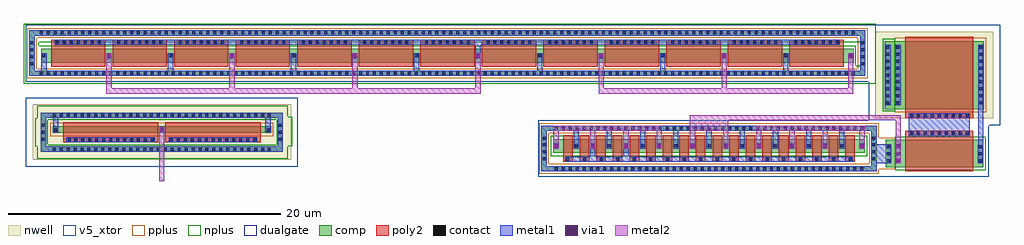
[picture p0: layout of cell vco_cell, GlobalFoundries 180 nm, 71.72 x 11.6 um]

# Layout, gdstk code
from math import pi, radians
import gdstk
lib = gdstk.Library(unit=1e-6, precision=5e-09)
def R(c, l, rs):  # rectangles x0, y0, x1, y1
    for r in rs: c.add(gdstk.rectangle(r[:2], r[2:], *l))
def A(c, l, x, y, w, h, nx, ny, dx, dy):  # array of equal rectangles
    R(c, l, [(x+i*dx, y+j*dy, x+i*dx+w, y+j*dy+h) for i in range(nx) for j in range(ny)])
def P(c, l, *ps):  # polygons
    for p in ps: c.add(gdstk.Polygon(p, *l))
nwell = (21, 0)
comp = (22, 0)
poly2 = (30, 0)
pplus = (31, 0)
nplus = (32, 0)
contact = (33, 0)
metal1 = (34, 0)
via1 = (35, 0)
metal2 = (36, 0)
dualgate = (55, 0)
v5_xtor = (112, 1)

nfet_1 = lib.new_cell('nfet$1')

pfet = lib.new_cell('pfet')

pfet_1 = lib.new_cell('pfet$1')

pfet_3 = lib.new_cell('pfet$3')

vco_inv_forlvs = lib.new_cell('vco_inv_forlvs')
vco_inv_forlvs.add(gdstk.Reference(nfet_1, (9.895,-4.855), rotation=pi, x_reflection=True))
vco_inv_forlvs.add(gdstk.Reference(pfet, (7.49,0.665), rotation=pi))
vco_inv_forlvs.add(gdstk.Reference(pfet, (7.265,0.74), rotation=pi))
vco_inv_forlvs.add(gdstk.Reference(pfet_1, (8.54,2.73), rotation=pi))
vco_inv_forlvs.add(gdstk.Reference(pfet_1, (6.875,1.175), rotation=pi))
vco_inv_forlvs.add(gdstk.Reference(pfet_3, (9.875,4.415), rotation=pi))

nfet_1_1 = lib.new_cell('nfet$1$1')

pfet_3_1 = lib.new_cell('pfet$3$1')

pfet_2 = lib.new_cell('pfet$2')

pfet_1_1 = lib.new_cell('pfet$1$1')

vco_inv_forlvs_1 = lib.new_cell('vco_inv_forlvs$1')
vco_inv_forlvs_1.add(gdstk.Reference(nfet_1_1, (9.895,-4.855), rotation=pi, x_reflection=True))
vco_inv_forlvs_1.add(gdstk.Reference(pfet_3_1, (9.875,4.415), rotation=pi))
vco_inv_forlvs_1.add(gdstk.Reference(pfet_2, (7.49,0.665), rotation=pi))
vco_inv_forlvs_1.add(gdstk.Reference(pfet_2, (7.265,0.74), rotation=pi))
vco_inv_forlvs_1.add(gdstk.Reference(pfet_1_1, (8.54,2.73), rotation=pi))
vco_inv_forlvs_1.add(gdstk.Reference(pfet_1_1, (6.875,1.175), rotation=pi))

nfet_1_2 = lib.new_cell('nfet$1$2')

pfet_3_2 = lib.new_cell('pfet$3$2')

pfet_4 = lib.new_cell('pfet$4')

pfet_1_2 = lib.new_cell('pfet$1$2')

vco_inv_forlvs_2 = lib.new_cell('vco_inv_forlvs$2')
vco_inv_forlvs_2.add(gdstk.Reference(nfet_1_2, (9.895,-4.855), rotation=pi, x_reflection=True))
vco_inv_forlvs_2.add(gdstk.Reference(pfet_3_2, (9.875,4.415), rotation=pi))
vco_inv_forlvs_2.add(gdstk.Reference(pfet_4, (7.49,0.665), rotation=pi))
vco_inv_forlvs_2.add(gdstk.Reference(pfet_4, (7.265,0.74), rotation=pi))
vco_inv_forlvs_2.add(gdstk.Reference(pfet_1_2, (8.54,2.73), rotation=pi))
vco_inv_forlvs_2.add(gdstk.Reference(pfet_1_2, (6.875,1.175), rotation=pi))

nfet_1_3 = lib.new_cell('nfet$1$3')

pfet_3_3 = lib.new_cell('pfet$3$3')

pfet_5 = lib.new_cell('pfet$5')

pfet_1_3 = lib.new_cell('pfet$1$3')

vco_inv_forlvs_3 = lib.new_cell('vco_inv_forlvs$3')
vco_inv_forlvs_3.add(gdstk.Reference(nfet_1_3, (9.895,-4.855), rotation=pi, x_reflection=True))
vco_inv_forlvs_3.add(gdstk.Reference(pfet_3_3, (9.875,4.415), rotation=pi))
vco_inv_forlvs_3.add(gdstk.Reference(pfet_5, (7.49,0.665), rotation=pi))
vco_inv_forlvs_3.add(gdstk.Reference(pfet_5, (7.265,0.74), rotation=pi))
vco_inv_forlvs_3.add(gdstk.Reference(pfet_1_3, (8.54,2.73), rotation=pi))
vco_inv_forlvs_3.add(gdstk.Reference(pfet_1_3, (6.875,1.175), rotation=pi))

nfet = lib.new_cell('nfet')

vco_nmosmirr_forlvs = lib.new_cell('vco_nmosmirr_forlvs')
vco_nmosmirr_forlvs.add(gdstk.Reference(nfet, (-0.415,-0.11)))
vco_nmosmirr_forlvs.add(gdstk.Label('VDD1', (2.995,3.085), layer=42, texttype=10))
vco_nmosmirr_forlvs.add(gdstk.Label('VDD2', (10.41,3.06), layer=42, texttype=10))
vco_nmosmirr_forlvs.add(gdstk.Label('VDD3', (17.99,3.18), layer=42, texttype=10))

nfet_1_4 = lib.new_cell('nfet$1$4')

pfet_3_4 = lib.new_cell('pfet$3$4')

pfet_6 = lib.new_cell('pfet$6')

pfet_1_4 = lib.new_cell('pfet$1$4')

vco_inv_forlvs_4 = lib.new_cell('vco_inv_forlvs$4')
vco_inv_forlvs_4.add(gdstk.Reference(nfet_1_4, (9.895,-4.855), rotation=pi, x_reflection=True))
vco_inv_forlvs_4.add(gdstk.Reference(pfet_3_4, (9.875,4.415), rotation=pi))
vco_inv_forlvs_4.add(gdstk.Reference(pfet_6, (7.49,0.665), rotation=pi))
vco_inv_forlvs_4.add(gdstk.Reference(pfet_6, (7.265,0.74), rotation=pi))
vco_inv_forlvs_4.add(gdstk.Reference(pfet_1_4, (8.54,2.73), rotation=pi))
vco_inv_forlvs_4.add(gdstk.Reference(pfet_1_4, (6.875,1.175), rotation=pi))

nfet_2 = lib.new_cell('nfet$2')

vco_nmosmirr_forlvs_1 = lib.new_cell('vco_nmosmirr_forlvs$1')
vco_nmosmirr_forlvs_1.add(gdstk.Reference(nfet_2, (-0.415,-0.11)))
vco_nmosmirr_forlvs_1.add(gdstk.Label('VDD1', (2.995,3.085), layer=42, texttype=10))
vco_nmosmirr_forlvs_1.add(gdstk.Label('VDD2', (10.41,3.06), layer=42, texttype=10))
vco_nmosmirr_forlvs_1.add(gdstk.Label('VDD3', (17.99,3.18), layer=42, texttype=10))

nfet_3 = lib.new_cell('nfet$3')

vco_nmosmirr_forlvs_2 = lib.new_cell('vco_nmosmirr_forlvs$2')
vco_nmosmirr_forlvs_2.add(gdstk.Reference(nfet_3, (-0.415,-0.11)))
vco_nmosmirr_forlvs_2.add(gdstk.Label('VDD1', (2.995,3.085), layer=42, texttype=10))
vco_nmosmirr_forlvs_2.add(gdstk.Label('VDD2', (10.41,3.06), layer=42, texttype=10))
vco_nmosmirr_forlvs_2.add(gdstk.Label('VDD3', (17.99,3.18), layer=42, texttype=10))

pfet_7 = lib.new_cell('pfet$7')

pfet_3_5 = lib.new_cell('pfet$3$5')

vco_vcont_forlvs = lib.new_cell('vco_vcont_forlvs')
vco_vcont_forlvs.add(gdstk.Reference(pfet_7, (-0.435,0.23)))
vco_vcont_forlvs.add(gdstk.Reference(pfet_3_5, (-0.74,0.02)))

nfet_1_5 = lib.new_cell('nfet$1$5')

pfet_3_6 = lib.new_cell('pfet$3$6')

pfet_8 = lib.new_cell('pfet$8')

pfet_1_5 = lib.new_cell('pfet$1$5')

vco_inv_forlvs_5 = lib.new_cell('vco_inv_forlvs$5')
vco_inv_forlvs_5.add(gdstk.Reference(nfet_1_5, (9.895,-4.855), rotation=pi, x_reflection=True))
vco_inv_forlvs_5.add(gdstk.Reference(pfet_3_6, (9.875,4.415), rotation=pi))
vco_inv_forlvs_5.add(gdstk.Reference(pfet_8, (7.49,0.665), rotation=pi))
vco_inv_forlvs_5.add(gdstk.Reference(pfet_8, (7.265,0.74), rotation=pi))
vco_inv_forlvs_5.add(gdstk.Reference(pfet_1_5, (8.54,2.73), rotation=pi))
vco_inv_forlvs_5.add(gdstk.Reference(pfet_1_5, (6.875,1.175), rotation=pi))
vco_inv_forlvs_5.add(gdstk.Label('VIN', (4.745,2.45), layer=34, texttype=10))
vco_inv_forlvs_5.add(gdstk.Label('VOUT', (4.915,5.48), layer=34, texttype=10))
vco_inv_forlvs_5.add(gdstk.Label('VSS', (6.98,-0.97), layer=34, texttype=10))
vco_inv_forlvs_5.add(gdstk.Label('VDD', (1.23,-0.965), layer=34, texttype=10))
vco_inv_forlvs_5.add(gdstk.Label('VIN', (4.745,18.25), layer=34, texttype=10))
vco_inv_forlvs_5.add(gdstk.Label('VIN', (4.745,34.05), layer=34, texttype=10))
vco_inv_forlvs_5.add(gdstk.Label('VIN', (4.745,49.85), layer=34, texttype=10))
vco_inv_forlvs_5.add(gdstk.Label('VIN', (4.745,65.65), layer=34, texttype=10))
vco_inv_forlvs_5.add(gdstk.Label('VOUT', (4.915,21.28), layer=34, texttype=10))
vco_inv_forlvs_5.add(gdstk.Label('VOUT', (4.915,37.08), layer=34, texttype=10))
vco_inv_forlvs_5.add(gdstk.Label('VOUT', (4.915,52.88), layer=34, texttype=10))
vco_inv_forlvs_5.add(gdstk.Label('VOUT', (4.915,68.68), layer=34, texttype=10))
vco_inv_forlvs_5.add(gdstk.Label('VSS', (6.98,14.83), layer=34, texttype=10))
vco_inv_forlvs_5.add(gdstk.Label('VSS', (6.98,30.63), layer=34, texttype=10))
vco_inv_forlvs_5.add(gdstk.Label('VSS', (6.98,46.43), layer=34, texttype=10))
vco_inv_forlvs_5.add(gdstk.Label('VSS', (6.98,62.23), layer=34, texttype=10))
vco_inv_forlvs_5.add(gdstk.Label('VDD', (1.23,14.835), layer=34, texttype=10))
vco_inv_forlvs_5.add(gdstk.Label('VDD', (1.23,30.635), layer=34, texttype=10))
vco_inv_forlvs_5.add(gdstk.Label('VDD', (1.23,46.435), layer=34, texttype=10))
vco_inv_forlvs_5.add(gdstk.Label('VDD', (1.23,62.235), layer=34, texttype=10))

nfet_4 = lib.new_cell('nfet$4')

vco_nmosmirr_forlvs_3 = lib.new_cell('vco_nmosmirr_forlvs$3')
vco_nmosmirr_forlvs_3.add(gdstk.Reference(nfet_4, (-0.415,-0.11)))
vco_nmosmirr_forlvs_3.add(gdstk.Label('VSS', (-29.64,29.665), layer=34, texttype=10))
vco_nmosmirr_forlvs_3.add(gdstk.Label('VSS', (-29.64,45.465), layer=34, texttype=10))
vco_nmosmirr_forlvs_3.add(gdstk.Label('VSS', (-29.64,61.265), layer=34, texttype=10))
vco_nmosmirr_forlvs_3.add(gdstk.Label('VSS', (-29.64,77.065), layer=34, texttype=10))
vco_nmosmirr_forlvs_3.add(gdstk.Label('VSS', (-29.64,92.865), layer=34, texttype=10))
vco_nmosmirr_forlvs_3.add(gdstk.Label('VDD1', (2.995,3.085), layer=42, texttype=10))
vco_nmosmirr_forlvs_3.add(gdstk.Label('VDD2', (10.41,3.06), layer=42, texttype=10))
vco_nmosmirr_forlvs_3.add(gdstk.Label('VDD3', (17.99,3.18), layer=42, texttype=10))

pfet_2_1 = lib.new_cell('pfet$2$1')

pfet_9 = lib.new_cell('pfet$9')

vco_pmosmirr_forlvs = lib.new_cell('vco_pmosmirr_forlvs')
vco_pmosmirr_forlvs.add(gdstk.Reference(pfet_2_1, (55.425,-0.395), rotation=pi, x_reflection=True))
vco_pmosmirr_forlvs.add(gdstk.Reference(pfet_9, (52.52,0.065), rotation=pi, x_reflection=True))
vco_pmosmirr_forlvs.add(gdstk.Reference(pfet_9, (55.445,0.13), rotation=pi, x_reflection=True))
vco_pmosmirr_forlvs.add(gdstk.Reference(pfet_9, (54.975,-2.405), rotation=pi, x_reflection=True))

pfet_10 = lib.new_cell('pfet$10')

pfet_3_7 = lib.new_cell('pfet$3$7')

vco_vcont_forlvs_1 = lib.new_cell('vco_vcont_forlvs$1')
vco_vcont_forlvs_1.add(gdstk.Reference(pfet_10, (-0.435,0.23)))
vco_vcont_forlvs_1.add(gdstk.Reference(pfet_3_7, (-0.74,0.02)))

nfet_2_1 = lib.new_cell('nfet$2$1')
R(nfet_2_1, comp, [(-10.7,-22.785,-10.28,-21.785), (-10.28,-22.785,11.78,-21.785), (11.78,-22.785,12.2,-21.785)])
P(nfet_2_1, comp, [(-11.56,-24.145),(-11.56,-21.175),(-11.18,-21.175),(-11.18,-23.765),(12.68,-23.765),(12.68,-21.175),(-11.56,-21.175),(-11.56,-20.795),(13.06,-20.795),(13.06,-24.145)])
A(nfet_2_1, poly2, -9.97, -23.445, 0.7, 0.36, 18, 1, 1.22, 0)
A(nfet_2_1, poly2, -9.97, -23.085, 0.7, 1.6, 18, 1, 1.22, 0)
P(nfet_2_1, pplus, [(-11.73,-24.315),(-11.73,-21.345),(-11.01,-21.345),(-11.01,-23.595),(12.51,-23.595),(12.51,-21.345),(-11.73,-21.345),(-11.73,-20.625),(13.23,-20.625),(13.23,-24.315)])
R(nfet_2_1, nplus, [(-10.87,-23.025,12.37,-21.545)])
A(nfet_2_1, contact, -10.58, -24.065, 0.22, 0.22, 45, 2, 0.51, 2.97)
A(nfet_2_1, contact, -9.73, -23.375, 0.22, 0.22, 18, 1, 1.22, 0)
A(nfet_2_1, contact, -11.48, -23.345, 0.22, 0.22, 1, 4, 0, 0.51)
A(nfet_2_1, contact, 12.76, -23.345, 0.22, 0.22, 1, 4, 0, 0.51)
A(nfet_2_1, contact, -9.12, -22.395, 0.22, 0.22, 17, 1, 1.22, 0)
R(nfet_2_1, contact, [(-10.6,-22.395,-10.38,-22.175), (11.88,-22.395,12.1,-22.175)])
A(nfet_2_1, metal1, -9.81, -23.455, 0.38, 0.38, 18, 1, 1.22, 0)
A(nfet_2_1, metal1, -9.2, -22.475, 0.38, 0.38, 17, 1, 1.22, 0)
R(nfet_2_1, metal1, [(-10.68,-22.475,-10.3,-22.095), (11.8,-22.475,12.18,-22.095)])
R(nfet_2_1, dualgate, [(-11.81,-24.555,13.31,-20.385), (-11.81,-24.395,13.31,-20.545)])
R(nfet_2_1, v5_xtor, [(-11.81,-24.555,13.31,-20.385), (-11.81,-24.395,13.31,-20.545)])

vco_nmosmirr_forlvs_1_1 = lib.new_cell('vco_nmosmirr_forlvs$1$1')
A(vco_nmosmirr_forlvs_1_1, metal1, -9.615, -22.585, 0.38, 1.3, 9, 1, 2.44, 0)
R(vco_nmosmirr_forlvs_1_1, metal1, [(-11.975,-24.255,12.645,-23.875), (-11.975,-23.875,-11.595,-21.285), (12.265,-23.875,12.645,-21.285), (-10.225,-23.565,10.895,-23.185), (-8.395,-23.565,-8.015,-22.265), (-5.955,-23.565,-5.575,-22.265), (-11.975,-21.285,12.645,-20.905)])
A(vco_nmosmirr_forlvs_1_1, via1, -8.335, -22.525, 0.26, 0.26, 8, 1, 2.44, 0)
R(vco_nmosmirr_forlvs_1_1, via1, [(-11.035,-22.525,-10.775,-22.265), (11.445,-22.525,11.705,-22.265)])
A(vco_nmosmirr_forlvs_1_1, metal2, -8.395, -22.585, 0.38, 1.68, 8, 1, 2.44, 0)
R(vco_nmosmirr_forlvs_1_1, metal2, [(-11.095,-22.585,-10.715,-20.905), (11.385,-22.585,11.765,-20.905), (-11.095,-21.285,-3.135,-20.905), (-1.075,-21.285,1.745,-20.905), (3.805,-21.285,11.765,-20.905)])
vco_nmosmirr_forlvs_1_1.add(gdstk.Reference(nfet_2_1, (-0.415,-0.11)))
vco_nmosmirr_forlvs_1_1.add(gdstk.Label('VSS', (-21.89,22.945), layer=34, texttype=10))
vco_nmosmirr_forlvs_1_1.add(gdstk.Label('VDD1', (-17.475,22.955), layer=42, texttype=10))
vco_nmosmirr_forlvs_1_1.add(gdstk.Label('VDD2', (-2.52,22.99), layer=42, texttype=10))

pfet_1_1_1 = lib.new_cell('pfet$1$1$1')

pfet_2_2 = lib.new_cell('pfet$2$2')

pfet_3_1_1 = lib.new_cell('pfet$3$1$1')
R(pfet_3_1_1, nwell, [(-11.34,43.41,-2.69,49.79)])
R(pfet_3_1_1, comp, [(-10.65,44.1,-10.19,49.1), (-10.19,44.1,-4.57,49.1), (-4.57,44.1,-4.11,49.1), (-4.11,44.1,-3.38,49.1)])
R(pfet_3_1_1, poly2, [(-9.88,43.8,-4.88,49.4), (-9.88,49.4,-4.88,49.78)])
R(pfet_3_1_1, pplus, [(-10.82,43.86,-4.11,49.34)])
R(pfet_3_1_1, nplus, [(-4.11,43.93,-3.21,49.27)])
A(pfet_3_1_1, contact, -10.53, 44.45, 0.22, 0.22, 1, 9, 0, 0.51)
A(pfet_3_1_1, contact, -4.45, 44.45, 0.22, 0.22, 1, 9, 0, 0.51)
A(pfet_3_1_1, contact, -3.72, 44.45, 0.22, 0.22, 1, 9, 0, 0.51)
A(pfet_3_1_1, contact, -9.53, 49.48, 0.22, 0.22, 9, 1, 0.51, 0)
R(pfet_3_1_1, metal1, [(-10.61,44.37,-10.23,48.83), (-4.53,44.37,-4.15,48.83), (-3.8,44.37,-3.42,48.83), (-9.61,49.4,-5.15,49.78)])
R(pfet_3_1_1, dualgate, [(-11.84,42.91,-2.19,50.29)])
R(pfet_3_1_1, v5_xtor, [(-11.84,42.91,-2.19,50.29)])

nfet_1_1_1 = lib.new_cell('nfet$1$1$1')
R(nfet_1_1_1, comp, [(-10.61,-44.1,-10.19,-42.1), (-10.19,-44.1,-4.57,-42.1), (-4.57,-44.1,-4.15,-42.1), (-4.15,-44.1,-3.44,-42.1)])
R(nfet_1_1_1, poly2, [(-9.88,-44.4,-4.88,-41.8), (-9.88,-41.8,-4.88,-41.44)])
R(nfet_1_1_1, pplus, [(-4.15,-44.27,-3.27,-41.93)])
R(nfet_1_1_1, nplus, [(-10.78,-44.34,-4.15,-41.86)])
A(nfet_1_1_1, contact, -10.51, -43.72, 0.22, 0.22, 1, 3, 0, 0.51)
A(nfet_1_1_1, contact, -4.47, -43.72, 0.22, 0.22, 1, 3, 0, 0.51)
A(nfet_1_1_1, contact, -3.76, -43.72, 0.22, 0.22, 1, 3, 0, 0.51)
A(nfet_1_1_1, contact, -9.53, -41.73, 0.22, 0.22, 9, 1, 0.51, 0)
R(nfet_1_1_1, metal1, [(-10.59,-43.8,-10.21,-42.4), (-4.55,-43.8,-4.17,-42.4), (-3.84,-43.8,-3.46,-42.4), (-9.61,-41.81,-5.15,-41.43)])
R(nfet_1_1_1, dualgate, [(-11.03,-44.81,-3.02,-41.02)])
R(nfet_1_1_1, v5_xtor, [(-11.03,-44.81,-3.02,-41.02)])

vco_inv_forlvs_1_1 = lib.new_cell('vco_inv_forlvs$1$1')
R(vco_inv_forlvs_1_1, metal1, [(20.105,-47.255,20.485,-44.415), (15.025,-46.285,19.485,-45.365)])
vco_inv_forlvs_1_1.add(gdstk.Reference(pfet_1_1_1, (8.54,2.73), rotation=pi))
vco_inv_forlvs_1_1.add(gdstk.Reference(pfet_1_1_1, (6.875,1.175), rotation=pi))
vco_inv_forlvs_1_1.add(gdstk.Reference(pfet_2_2, (7.49,0.665), rotation=pi))
vco_inv_forlvs_1_1.add(gdstk.Reference(pfet_2_2, (7.265,0.74), rotation=pi))
vco_inv_forlvs_1_1.add(gdstk.Reference(pfet_3_1_1, (9.875,4.415), rotation=pi))
vco_inv_forlvs_1_1.add(gdstk.Reference(nfet_1_1_1, (9.875,-4.855), rotation=pi, x_reflection=True))
vco_inv_forlvs_1_1.add(gdstk.Label('VBP', (3.245,1.89), layer=34, texttype=10))
vco_inv_forlvs_1_1.add(gdstk.Label('VDD', (3.995,1.9), layer=34, texttype=10))
vco_inv_forlvs_1_1.add(gdstk.Label('VIN', (7.075,-1.615), layer=34, texttype=10))
vco_inv_forlvs_1_1.add(gdstk.Label('VOUT', (10.105,-1.785), layer=34, texttype=10))

nfet_5 = lib.new_cell('nfet$5')

vco_nmosmirr_forlvs_4 = lib.new_cell('vco_nmosmirr_forlvs$4')
vco_nmosmirr_forlvs_4.add(gdstk.Reference(nfet_5, (-0.415,-0.11)))

pfet_1_6 = lib.new_cell('pfet$1$6')

pfet_11 = lib.new_cell('pfet$11')

pfet_3_8 = lib.new_cell('pfet$3$8')

nfet_1_6 = lib.new_cell('nfet$1$6')

vco_inv_forlvs_6 = lib.new_cell('vco_inv_forlvs$6')
vco_inv_forlvs_6.add(gdstk.Reference(pfet_1_6, (8.54,2.73), rotation=pi))
vco_inv_forlvs_6.add(gdstk.Reference(pfet_1_6, (6.875,1.175), rotation=pi))
vco_inv_forlvs_6.add(gdstk.Reference(pfet_11, (7.49,0.665), rotation=pi))
vco_inv_forlvs_6.add(gdstk.Reference(pfet_11, (7.265,0.74), rotation=pi))
vco_inv_forlvs_6.add(gdstk.Reference(pfet_3_8, (9.875,4.415), rotation=pi))
vco_inv_forlvs_6.add(gdstk.Reference(nfet_1_6, (9.875,-4.855), rotation=pi, x_reflection=True))

vco_inv_nmosmirr_forlvs = lib.new_cell('vco_inv-nmosmirr_forlvs')
R(vco_inv_nmosmirr_forlvs, pplus, [(62.815,0.875,63.145,3.215)])
R(vco_inv_nmosmirr_forlvs, metal1, [(62.645,1.345,63.335,2.745)])
R(vco_inv_nmosmirr_forlvs, via1, [(64.105,1.405,64.365,1.665), (64.105,2.425,64.365,2.685)])
R(vco_inv_nmosmirr_forlvs, metal2, [(64.045,1.345,64.425,4.855), (48.925,4.095,51.745,4.475), (48.925,4.475,64.425,4.855)])
vco_inv_nmosmirr_forlvs.add(gdstk.Reference(vco_nmosmirr_forlvs_1_1, (50,25)))
vco_inv_nmosmirr_forlvs.add(gdstk.Reference(vco_inv_forlvs_1_1, (50,50)))
vco_inv_nmosmirr_forlvs.add(gdstk.Reference(vco_nmosmirr_forlvs_4, (50,25)))
vco_inv_nmosmirr_forlvs.add(gdstk.Reference(vco_inv_forlvs_6, (50,50)))

nfet_1_7 = lib.new_cell('nfet$1$7')
R(nfet_1_7, comp, [(3.175,-0.24,3.595,0.76), (3.595,-0.24,62.455,0.76), (62.455,-0.24,62.875,0.76)])
P(nfet_1_7, comp, [(2.315,-1.23),(2.315,1.74),(2.695,1.74),(2.695,-0.85),(63.355,-0.85),(63.355,1.74),(2.315,1.74),(2.315,2.12),(63.735,2.12),(63.735,-1.23)])
A(nfet_1_7, poly2, 3.905, -0.54, 4, 1.6, 13, 1, 4.52, 0)
A(nfet_1_7, poly2, 3.905, 1.06, 4, 0.36, 13, 1, 4.52, 0)
P(nfet_1_7, pplus, [(2.145,-1.4),(2.145,1.57),(2.865,1.57),(2.865,-0.68),(63.185,-0.68),(63.185,1.57),(2.145,1.57),(2.145,2.29),(63.905,2.29),(63.905,-1.4)])
R(nfet_1_7, nplus, [(3.005,-0.48,63.045,1)])
A(nfet_1_7, contact, 3.08, -1.15, 0.22, 0.22, 118, 2, 0.51, 2.97)
A(nfet_1_7, contact, 2.395, -0.43, 0.22, 0.22, 1, 4, 0, 0.51)
A(nfet_1_7, contact, 63.435, -0.43, 0.22, 0.22, 1, 4, 0, 0.51)
A(nfet_1_7, contact, 8.055, 0.15, 0.22, 0.22, 12, 1, 4.52, 0)
A(nfet_1_7, contact, 4.265, 1.13, 0.22, 0.22, 7, 1, 0.51, 0)
A(nfet_1_7, contact, 8.785, 1.13, 0.22, 0.22, 7, 1, 0.51, 0)
A(nfet_1_7, contact, 13.305, 1.13, 0.22, 0.22, 7, 1, 0.51, 0)
A(nfet_1_7, contact, 17.825, 1.13, 0.22, 0.22, 7, 1, 0.51, 0)
A(nfet_1_7, contact, 22.345, 1.13, 0.22, 0.22, 7, 1, 0.51, 0)
A(nfet_1_7, contact, 26.865, 1.13, 0.22, 0.22, 7, 1, 0.51, 0)
A(nfet_1_7, contact, 31.385, 1.13, 0.22, 0.22, 7, 1, 0.51, 0)
A(nfet_1_7, contact, 35.905, 1.13, 0.22, 0.22, 7, 1, 0.51, 0)
A(nfet_1_7, contact, 40.425, 1.13, 0.22, 0.22, 7, 1, 0.51, 0)
A(nfet_1_7, contact, 44.945, 1.13, 0.22, 0.22, 7, 1, 0.51, 0)
A(nfet_1_7, contact, 49.465, 1.13, 0.22, 0.22, 7, 1, 0.51, 0)
A(nfet_1_7, contact, 53.985, 1.13, 0.22, 0.22, 7, 1, 0.51, 0)
A(nfet_1_7, contact, 58.505, 1.13, 0.22, 0.22, 7, 1, 0.51, 0)
R(nfet_1_7, contact, [(3.275,0.15,3.495,0.37), (62.555,0.15,62.775,0.37)])
A(nfet_1_7, metal1, 7.975, 0.07, 0.38, 0.38, 12, 1, 4.52, 0)
A(nfet_1_7, metal1, 4.185, 1.05, 3.44, 0.38, 13, 1, 4.52, 0)
R(nfet_1_7, metal1, [(3.195,0.07,3.575,0.45), (62.475,0.07,62.855,0.45)])
R(nfet_1_7, dualgate, [(2.065,-1.64,63.985,2.53), (2.065,-1.48,63.985,2.37)])
R(nfet_1_7, v5_xtor, [(2.065,-1.64,63.985,2.53), (2.065,-1.48,63.985,2.37)])

vco_pmosmirr_forlvs_1 = lib.new_cell('vco_pmosmirr_forlvs$1')
R(vco_pmosmirr_forlvs_1, nplus, [(-0.25,6.91,62.34,8.265), (-0.25,6.91,0.85,11.345), (61.24,6.91,62.34,11.345), (-0.25,9.99,62.34,11.345)])
A(vco_pmosmirr_forlvs_1, metal1, 10.325, 7.88, 0.38, 0.92, 6, 1, 9.04, 0)
R(vco_pmosmirr_forlvs_1, metal1, [(0.145,7.495,61.565,7.875), (0.145,7.875,0.525,10.465), (1.025,7.875,1.405,8.795), (61.185,7.875,61.565,10.465), (32.925,9.175,33.305,9.785), (2.015,9.775,59.695,10.155), (0.145,10.465,61.565,10.845)])
A(vco_pmosmirr_forlvs_1, via1, 5.865, 8.855, 0.26, 0.26, 6, 1, 9.04, 0)
R(vco_pmosmirr_forlvs_1, via1, [(60.365,8.855,60.625,9.115)])
A(vco_pmosmirr_forlvs_1, metal2, 5.805, 6.175, 0.38, 3, 6, 1, 9.04, 0)
R(vco_pmosmirr_forlvs_1, metal2, [(6.185,6.175,33.305,6.59), (41.965,6.175,60.685,6.59), (60.305,6.175,60.685,9.175)])
vco_pmosmirr_forlvs_1.add(gdstk.Reference(nfet_1_7, (-2.17,8.725)))
vco_pmosmirr_forlvs_1.add(gdstk.Label('VDD', (57.475,10.855), layer=34, texttype=10))
vco_pmosmirr_forlvs_1.add(gdstk.Label('VSS2', (48.745,6.545), layer=36, texttype=10))
vco_pmosmirr_forlvs_1.add(gdstk.Label('VSS1', (24.04,6.565), layer=36, texttype=10))

pfet_12 = lib.new_cell('pfet$12')

pfet_3_9 = lib.new_cell('pfet$3$9')
R(pfet_3_9, nwell, [(1.12,1.31,20.12,5.39)])
R(pfet_3_9, comp, [(2.59,3.29,3.05,3.79), (3.05,3.29,18.19,3.79), (18.19,3.29,18.65,3.79)])
P(pfet_3_9, comp, [(1.73,1.92),(1.73,4.4),(2.11,4.4),(2.11,2.3),(19.13,2.3),(19.13,4.4),(1.73,4.4),(1.73,4.78),(19.51,4.78),(19.51,1.92)])
R(pfet_3_9, poly2, [(3.36,2.61,10.36,2.99), (10.88,2.61,17.88,2.99), (3.36,2.99,10.36,4.09), (10.88,2.99,17.88,4.09)])
R(pfet_3_9, pplus, [(2.42,3.05,18.82,4.03)])
A(pfet_3_9, contact, 2.605, 2, 0.22, 0.22, 32, 2, 0.51, 2.48)
A(pfet_3_9, contact, 3.69, 2.69, 0.22, 0.22, 13, 1, 0.51, 0)
A(pfet_3_9, contact, 11.21, 2.69, 0.22, 0.22, 13, 1, 0.51, 0)
A(pfet_3_9, contact, 1.81, 2.73, 0.22, 0.22, 1, 3, 0, 0.51)
A(pfet_3_9, contact, 19.21, 2.73, 0.22, 0.22, 1, 3, 0, 0.51)
A(pfet_3_9, contact, 2.71, 3.43, 0.22, 0.22, 3, 1, 7.8, 0)
A(pfet_3_9, metal1, 2.63, 3.35, 0.38, 0.38, 3, 1, 7.8, 0)
R(pfet_3_9, metal1, [(3.61,2.61,10.11,2.99), (11.13,2.61,17.63,2.99)])
R(pfet_3_9, dualgate, [(0.62,0.81,20.62,5.89), (1.48,1.67,19.76,5.03)])
R(pfet_3_9, v5_xtor, [(0.62,0.81,20.62,5.89), (1.48,1.67,19.76,5.03)])

vco_vcont_forlvs_2 = lib.new_cell('vco_vcont_forlvs$2')
R(vco_vcont_forlvs_2, nplus, [(0.74,1.405,19.14,2.455), (0.57,2.32,1.51,4.395), (18.32,2.32,19.455,4.485), (0.74,4.265,19.14,5.315)])
R(vco_vcont_forlvs_2, metal1, [(0.99,1.94,18.77,2.32), (0.99,2.32,1.37,4.42), (18.39,2.32,18.77,4.42), (1.89,3.75,2.27,4.42), (17.49,3.75,17.87,4.42), (0.99,4.42,18.77,4.8)])
R(vco_vcont_forlvs_2, via1, [(9.75,3.43,10.01,3.69)])
R(vco_vcont_forlvs_2, metal2, [(9.69,-0.25,10.07,3.75)])
vco_vcont_forlvs_2.add(gdstk.Reference(pfet_12, (-0.435,0.23)))
vco_vcont_forlvs_2.add(gdstk.Reference(pfet_3_9, (-0.74,0.02)))
vco_vcont_forlvs_2.add(gdstk.Label('VCONT', (6.52,2.86), layer=34, texttype=0))
vco_vcont_forlvs_2.add(gdstk.Label('VSS2', (13.85,2.815), layer=34, texttype=0))
vco_vcont_forlvs_2.add(gdstk.Label('VDD', (9.925,4.61), layer=34, texttype=0))
vco_vcont_forlvs_2.add(gdstk.Label('VSS1', (9.9,0.035), layer=36, texttype=0))

vco_cell = lib.new_cell('vco_cell')
vco_cell.add(gdstk.Reference(vco_inv_forlvs, (0,0)))
vco_cell.add(gdstk.Reference(vco_inv_forlvs_1, (50,50)))
vco_cell.add(gdstk.Reference(vco_inv_forlvs_2, (50,50)))
vco_cell.add(gdstk.Reference(vco_inv_forlvs_3, (50,50)))
vco_cell.add(gdstk.Reference(vco_nmosmirr_forlvs, (50,25)))
vco_cell.add(gdstk.Reference(vco_inv_forlvs_4, (50,50)))
vco_cell.add(gdstk.Reference(vco_nmosmirr_forlvs_1, (50,25)))
vco_cell.add(gdstk.Reference(vco_nmosmirr_forlvs_2, (50,75)))
vco_cell.add(gdstk.Reference(vco_vcont_forlvs, (25,75)))
vco_cell.add(gdstk.Reference(vco_inv_forlvs_5, (50,50)))
vco_cell.add(gdstk.Reference(vco_nmosmirr_forlvs_3, (50,25)))
vco_cell.add(gdstk.Reference(vco_pmosmirr_forlvs, (50,75)))
vco_cell.add(gdstk.Reference(vco_vcont_forlvs_1, (25,75)))
vco_cell.add(gdstk.Reference(vco_inv_nmosmirr_forlvs, (0,0)))
vco_cell.add(gdstk.Reference(vco_pmosmirr_forlvs_1, (0.25,0.25)))
vco_cell.add(gdstk.Reference(vco_vcont_forlvs_2, (0.25,0.25)))
vco_cell.add(gdstk.Label('VIN', (54.745,52.45), layer=34, texttype=10))
vco_cell.add(gdstk.Label('VOUT', (54.915,55.48), layer=34, texttype=10))
vco_cell.add(gdstk.Label('VSS', (56.98,49.03), layer=34, texttype=10))
vco_cell.add(gdstk.Label('VDD', (51.23,49.035), layer=34, texttype=10))
vco_cell.add(gdstk.Label('VSS', (20.36,54.665), layer=34, texttype=10))
vco_cell.add(gdstk.Label('VIN', (54.745,68.25), layer=34, texttype=10))
vco_cell.add(gdstk.Label('VIN', (54.745,84.05), layer=34, texttype=10))
vco_cell.add(gdstk.Label('VIN', (54.745,99.85), layer=34, texttype=10))
vco_cell.add(gdstk.Label('VIN', (54.745,115.65), layer=34, texttype=10))
vco_cell.add(gdstk.Label('VOUT', (54.915,71.28), layer=34, texttype=10))
vco_cell.add(gdstk.Label('VOUT', (54.915,87.08), layer=34, texttype=10))
vco_cell.add(gdstk.Label('VOUT', (54.915,102.88), layer=34, texttype=10))
vco_cell.add(gdstk.Label('VOUT', (54.915,118.68), layer=34, texttype=10))
vco_cell.add(gdstk.Label('VSS', (56.98,64.83), layer=34, texttype=10))
vco_cell.add(gdstk.Label('VSS', (56.98,80.63), layer=34, texttype=10))
vco_cell.add(gdstk.Label('VSS', (56.98,96.43), layer=34, texttype=10))
vco_cell.add(gdstk.Label('VSS', (56.98,112.23), layer=34, texttype=10))
vco_cell.add(gdstk.Label('VDD', (51.23,64.835), layer=34, texttype=10))
vco_cell.add(gdstk.Label('VDD', (51.23,80.635), layer=34, texttype=10))
vco_cell.add(gdstk.Label('VDD', (51.23,96.435), layer=34, texttype=10))
vco_cell.add(gdstk.Label('VDD', (51.23,112.235), layer=34, texttype=10))
vco_cell.add(gdstk.Label('VSS', (20.36,70.465), layer=34, texttype=10))
vco_cell.add(gdstk.Label('VSS', (20.36,86.265), layer=34, texttype=10))
vco_cell.add(gdstk.Label('VSS', (20.36,102.065), layer=34, texttype=10))
vco_cell.add(gdstk.Label('VSS', (20.36,117.865), layer=34, texttype=10))

lib.write_gds('vco_cell.gds')
